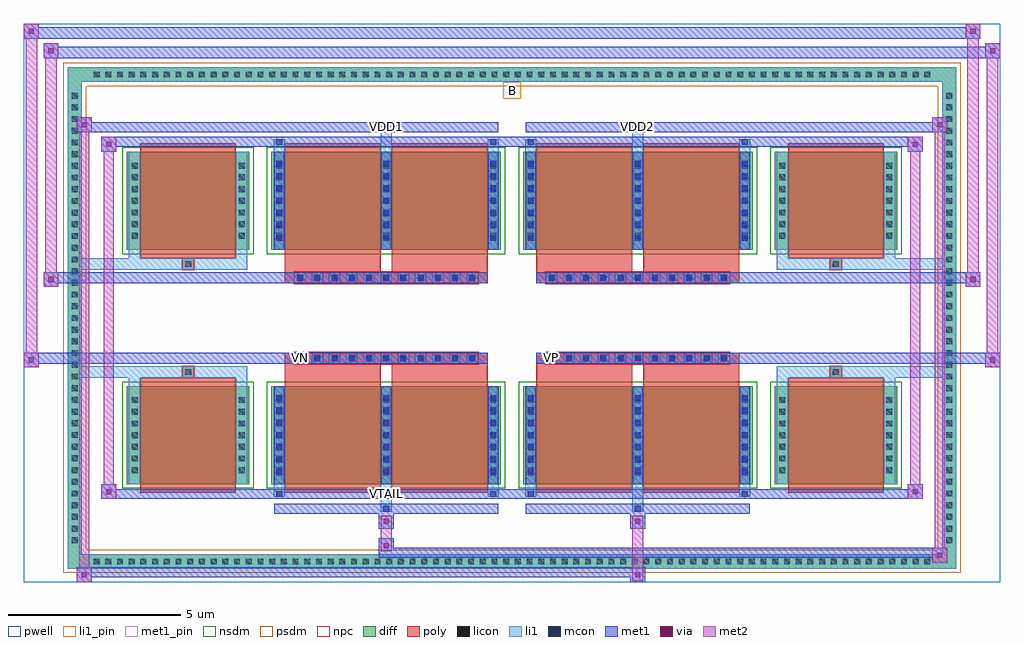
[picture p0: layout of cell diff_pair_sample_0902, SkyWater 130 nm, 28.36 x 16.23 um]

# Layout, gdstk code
import gdstk
lib = gdstk.Library(unit=1e-6, precision=5e-09)
def R(c, l, rs):  # rectangles x0, y0, x1, y1
    for r in rs: c.add(gdstk.rectangle(r[:2], r[2:], *l))
def A(c, l, x, y, w, h, nx, ny, dx, dy):  # array of equal rectangles
    R(c, l, [(x+i*dx, y+j*dy, x+i*dx+w, y+j*dy+h) for i in range(nx) for j in range(ny)])
def P(c, l, *ps):  # polygons
    for p in ps: c.add(gdstk.Polygon(p, *l))
pwell = (64, 44)
diff = (65, 20)
poly = (66, 20)
licon = (66, 44)
li1_pin = (67, 16)
li1 = (67, 20)
mcon = (67, 44)
met1_pin = (68, 16)
met1 = (68, 20)
via = (68, 44)
met2 = (69, 20)
nsdm = (93, 44)
psdm = (94, 20)
npc = (95, 20)

diff_pair_sample_0902 = lib.new_cell('diff_pair_sample_0902')
R(diff_pair_sample_0902, pwell, [(-14.18,-7.68,14.18,8.55), (-11.5,-5.87,-0.01,-0.805), (0.01,-5.87,11.5,-0.805), (-11.5,0.805,-0.01,5.87), (0.01,0.805,11.5,5.87)])
A(diff_pair_sample_0902, diff, -12.275, -7.28, 0.41, 0.41, 72, 2, 0.34, 14.15)
A(diff_pair_sample_0902, diff, -12.91, -6.665, 0.41, 0.41, 1, 39, 0, 0.34)
A(diff_pair_sample_0902, diff, 12.5, -6.665, 0.41, 0.41, 1, 39, 0, 0.34)
R(diff_pair_sample_0902, diff, [(-12.275,-7.28,12.275,-6.87), (-12.91,-6.665,-12.5,6.665), (12.5,-6.665,12.91,6.665), (-11.19,-4.825,-7.63,-1.985), (-6.99,-4.825,-0.32,-1.985), (0.32,-4.825,6.99,-1.985), (7.63,-4.825,11.19,-1.985), (-11.19,1.985,-7.63,4.825), (-6.99,1.985,-0.32,4.825), (0.32,1.985,6.99,4.825), (7.63,1.985,11.19,4.825), (-12.275,6.87,12.275,7.28)])
P(diff_pair_sample_0902, diff, [(12.91,7.28),(-12.91,7.28),(-12.91,-6.87),(-12.5,-6.87),(-12.5,6.87),(12.5,6.87),(12.5,-6.87),(-12.5,-6.87),(-12.91,-6.87),(-12.91,-7.28),(12.91,-7.28)])
A(diff_pair_sample_0902, poly, -6.32, -1.335, 0.33, 0.33, 11, 2, 0.5, 2.34)
A(diff_pair_sample_0902, poly, 0.99, -1.335, 0.33, 0.33, 11, 2, 0.5, 2.34)
R(diff_pair_sample_0902, poly, [(-10.8,-5.075,-8.02,-1.735), (-6.6,-5.075,-3.82,-1.735), (-3.49,-5.075,-0.71,-1.735), (0.71,-5.075,3.49,-1.735), (3.82,-5.075,6.6,-1.735), (8.02,-5.075,10.8,-1.735), (-9.575,-1.735,-9.245,-1.405), (-9.575,-1.735,-9.245,-1.405), (-6.6,-1.735,-3.82,-1.335), (-3.49,-1.735,-0.71,-1.335), (0.71,-1.735,3.49,-1.335), (3.82,-1.735,6.6,-1.335), (9.245,-1.735,9.575,-1.405), (9.245,-1.735,9.575,-1.405), (-6.6,-1.335,-0.71,-1.005), (0.71,-1.335,6.6,-1.005), (-6.6,1.005,-0.71,1.335), (0.71,1.005,6.6,1.335), (-6.6,1.335,-3.82,1.735), (-3.49,1.335,-0.71,1.735), (0.71,1.335,3.49,1.735), (3.82,1.335,6.6,1.735), (-9.575,1.405,-9.245,1.735), (-9.575,1.405,-9.245,1.735), (9.245,1.405,9.575,1.735), (9.245,1.405,9.575,1.735), (-10.8,1.735,-8.02,5.075), (-6.6,1.735,-3.82,5.075), (-3.49,1.735,-0.71,5.075), (0.71,1.735,3.49,5.075), (3.82,1.735,6.6,5.075), (8.02,1.735,10.8,5.075)])
A(diff_pair_sample_0902, licon, -12.155, -7.16, 0.17, 0.17, 72, 2, 0.34, 14.15)
A(diff_pair_sample_0902, licon, -12.79, -6.545, 0.17, 0.17, 1, 39, 0, 0.34)
A(diff_pair_sample_0902, licon, 12.62, -6.545, 0.17, 0.17, 1, 39, 0, 0.34)
A(diff_pair_sample_0902, licon, -11.05, -4.51, 0.17, 0.17, 1, 7, 0, 0.34)
A(diff_pair_sample_0902, licon, -7.94, -4.51, 0.17, 0.17, 1, 7, 0, 0.34)
A(diff_pair_sample_0902, licon, -6.85, -4.51, 0.17, 0.17, 3, 7, 3.11, 0.34)
A(diff_pair_sample_0902, licon, 0.46, -4.51, 0.17, 0.17, 3, 7, 3.11, 0.34)
A(diff_pair_sample_0902, licon, 7.77, -4.51, 0.17, 0.17, 1, 7, 0, 0.34)
A(diff_pair_sample_0902, licon, 10.88, -4.51, 0.17, 0.17, 1, 7, 0, 0.34)
A(diff_pair_sample_0902, licon, -6.24, -1.255, 0.17, 0.17, 11, 2, 0.5, 2.34)
A(diff_pair_sample_0902, licon, 1.07, -1.255, 0.17, 0.17, 11, 2, 0.5, 2.34)
A(diff_pair_sample_0902, licon, -11.05, 2.3, 0.17, 0.17, 1, 7, 0, 0.34)
A(diff_pair_sample_0902, licon, -7.94, 2.3, 0.17, 0.17, 1, 7, 0, 0.34)
A(diff_pair_sample_0902, licon, -6.85, 2.3, 0.17, 0.17, 3, 7, 3.11, 0.34)
A(diff_pair_sample_0902, licon, 0.46, 2.3, 0.17, 0.17, 3, 7, 3.11, 0.34)
A(diff_pair_sample_0902, licon, 7.77, 2.3, 0.17, 0.17, 1, 7, 0, 0.34)
A(diff_pair_sample_0902, licon, 10.88, 2.3, 0.17, 0.17, 1, 7, 0, 0.34)
R(diff_pair_sample_0902, licon, [(-9.495,-1.655,-9.325,-1.485), (9.325,-1.655,9.495,-1.485), (-9.495,1.485,-9.325,1.655), (9.325,1.485,9.495,1.655)])
R(diff_pair_sample_0902, li1_pin, [(-0.25,6.37,0.25,6.87)])
A(diff_pair_sample_0902, li1, -12.235, -7.24, 0.33, 0.33, 72, 2, 0.34, 14.15)
A(diff_pair_sample_0902, li1, -12.87, -6.625, 0.33, 0.33, 1, 39, 0, 0.34)
A(diff_pair_sample_0902, li1, 12.54, -6.625, 0.33, 0.33, 1, 39, 0, 0.34)
A(diff_pair_sample_0902, li1, -6.93, -4.825, 0.33, 2.84, 3, 2, 3.11, 6.81)
A(diff_pair_sample_0902, li1, 0.38, -4.825, 0.33, 2.84, 3, 2, 3.11, 6.81)
A(diff_pair_sample_0902, li1, -11.13, -4.59, 0.33, 0.33, 1, 7, 0, 0.34)
A(diff_pair_sample_0902, li1, -8.02, -4.59, 0.33, 0.33, 1, 7, 0, 0.34)
A(diff_pair_sample_0902, li1, -6.93, -4.59, 0.33, 0.33, 3, 7, 3.11, 0.34)
A(diff_pair_sample_0902, li1, 0.38, -4.59, 0.33, 0.33, 3, 7, 3.11, 0.34)
A(diff_pair_sample_0902, li1, 7.69, -4.59, 0.33, 0.33, 1, 7, 0, 0.34)
A(diff_pair_sample_0902, li1, 10.8, -4.59, 0.33, 0.33, 1, 7, 0, 0.34)
A(diff_pair_sample_0902, li1, -6.85, -4.57, 0.17, 0.17, 3, 7, 3.11, 0.36)
A(diff_pair_sample_0902, li1, -6.85, -4.57, 0.17, 2.33, 3, 2, 3.11, 6.81)
A(diff_pair_sample_0902, li1, 0.46, -4.57, 0.17, 0.17, 3, 7, 3.11, 0.36)
A(diff_pair_sample_0902, li1, 0.46, -4.57, 0.17, 2.33, 3, 2, 3.11, 6.81)
A(diff_pair_sample_0902, li1, -6.32, -1.335, 0.33, 0.33, 11, 2, 0.5, 2.34)
A(diff_pair_sample_0902, li1, 0.99, -1.335, 0.33, 0.33, 11, 2, 0.5, 2.34)
A(diff_pair_sample_0902, li1, -11.13, 2.22, 0.33, 0.33, 1, 7, 0, 0.34)
A(diff_pair_sample_0902, li1, -8.02, 2.22, 0.33, 0.33, 1, 7, 0, 0.34)
A(diff_pair_sample_0902, li1, -6.93, 2.22, 0.33, 0.33, 3, 7, 3.11, 0.34)
A(diff_pair_sample_0902, li1, 0.38, 2.22, 0.33, 0.33, 3, 7, 3.11, 0.34)
A(diff_pair_sample_0902, li1, 7.69, 2.22, 0.33, 0.33, 1, 7, 0, 0.34)
A(diff_pair_sample_0902, li1, 10.8, 2.22, 0.33, 0.33, 1, 7, 0, 0.34)
A(diff_pair_sample_0902, li1, -6.85, 2.24, 0.17, 0.17, 3, 7, 3.11, 0.36)
A(diff_pair_sample_0902, li1, 0.46, 2.24, 0.17, 0.17, 3, 7, 3.11, 0.36)
R(diff_pair_sample_0902, li1, [(-12.91,-7.28,-12.5,-6.87), (-12.91,-7.28,-12.5,-6.87), (-12.5,-7.28,12.5,-6.87), (12.5,-7.28,12.91,-6.87), (12.5,-7.28,12.91,-6.87), (-12.91,-6.87,-12.5,6.87), (12.5,-6.87,12.91,6.87), (-3.82,-5.63,-3.49,-4.825), (-3.74,-5.63,-3.57,-5.46), (3.49,-5.63,3.82,-4.825), (3.57,-5.63,3.74,-5.46), (-6.93,-5.2,-6.6,-4.825), (-6.85,-5.2,-6.68,-5.03), (-0.71,-5.2,-0.38,-4.825), (-0.63,-5.2,-0.46,-5.03), (0.38,-5.2,0.71,-4.825), (0.46,-5.2,0.63,-5.03), (6.6,-5.2,6.93,-4.825), (6.68,-5.2,6.85,-5.03), (-11.13,-4.825,-10.8,-1.985), (-8.02,-4.825,-7.69,-1.985), (7.69,-4.825,8.02,-1.985), (10.8,-4.825,11.13,-1.985), (-11.13,-1.985,-10.8,-1.405), (-8.02,-1.985,-7.69,-1.405), (7.69,-1.985,8.02,-1.405), (10.8,-1.985,11.13,-1.405), (-12.91,-1.735,-9.575,-1.405), (-11.13,-1.735,-9.575,-1.405), (-9.575,-1.735,-9.245,-1.405), (-9.245,-1.735,-7.69,-1.405), (7.69,-1.735,9.245,-1.405), (9.245,-1.735,9.575,-1.405), (9.245,-1.735,12.91,-1.405), (9.575,-1.735,11.13,-1.405), (-12.91,1.405,-9.575,1.735), (-11.13,1.405,-9.575,1.735), (-11.13,1.405,-10.8,1.985), (-9.575,1.405,-9.245,1.735), (-9.245,1.405,-7.69,1.735), (-8.02,1.405,-7.69,1.985), (7.69,1.405,9.245,1.735), (7.69,1.405,8.02,1.985), (9.245,1.405,9.575,1.735), (9.245,1.405,12.91,1.735), (9.575,1.405,11.13,1.735), (10.8,1.405,11.13,1.985), (-11.13,1.985,-10.8,4.825), (-8.02,1.985,-7.69,4.825), (7.69,1.985,8.02,4.825), (10.8,1.985,11.13,4.825), (-6.93,4.825,-6.6,5.2), (-3.82,4.825,-3.49,5.63), (-0.71,4.825,-0.38,5.2), (0.38,4.825,0.71,5.2), (3.49,4.825,3.82,5.63), (6.6,4.825,6.93,5.2), (-6.85,5.03,-6.68,5.2), (-0.63,5.03,-0.46,5.2), (0.46,5.03,0.63,5.2), (6.68,5.03,6.85,5.2), (-3.74,5.46,-3.57,5.63), (3.57,5.46,3.74,5.63), (-12.91,6.87,-12.5,7.28), (-12.91,6.87,-12.5,7.28), (-12.5,6.87,12.5,7.28), (12.5,6.87,12.91,7.28), (12.5,6.87,12.91,7.28)])
A(diff_pair_sample_0902, mcon, -6.85, -4.57, 0.17, 0.17, 3, 7, 3.11, 0.36)
A(diff_pair_sample_0902, mcon, 0.46, -4.57, 0.17, 0.17, 3, 7, 3.11, 0.36)
A(diff_pair_sample_0902, mcon, -6.24, -1.255, 0.17, 0.17, 11, 2, 0.5, 2.34)
A(diff_pair_sample_0902, mcon, 1.07, -1.255, 0.17, 0.17, 11, 2, 0.5, 2.34)
A(diff_pair_sample_0902, mcon, -6.85, 2.24, 0.17, 0.17, 3, 7, 3.11, 0.36)
A(diff_pair_sample_0902, mcon, 0.46, 2.24, 0.17, 0.17, 3, 7, 3.11, 0.36)
R(diff_pair_sample_0902, mcon, [(-3.74,-5.63,-3.57,-5.46), (3.57,-5.63,3.74,-5.46), (-6.85,-5.2,-6.68,-5.03), (-0.63,-5.2,-0.46,-5.03), (0.46,-5.2,0.63,-5.03), (6.68,-5.2,6.85,-5.03), (-6.85,5.03,-6.68,5.2), (-0.63,5.03,-0.46,5.2), (0.46,5.03,0.63,5.2), (6.68,5.03,6.85,5.2), (-3.74,5.46,-3.57,5.63), (3.57,5.46,3.74,5.63)])
R(diff_pair_sample_0902, met1_pin, [(-3.79,-5.24,-3.52,-4.97), (-6.29,-1.295,-6.02,-1.025), (1.02,-1.295,1.29,-1.025), (-3.79,5.42,-3.52,5.69), (3.52,5.42,3.79,5.69)])
A(diff_pair_sample_0902, met1, -6.91, -4.825, 0.29, 2.84, 3, 2, 3.11, 6.81)
A(diff_pair_sample_0902, met1, 0.4, -4.825, 0.29, 2.84, 3, 2, 3.11, 6.81)
A(diff_pair_sample_0902, met1, -6.91, -4.63, 0.29, 0.29, 3, 7, 3.11, 0.36)
A(diff_pair_sample_0902, met1, 0.4, -4.63, 0.29, 0.29, 3, 7, 3.11, 0.36)
A(diff_pair_sample_0902, met1, -6.3, -1.315, 0.29, 0.29, 11, 2, 0.5, 2.34)
A(diff_pair_sample_0902, met1, 1.01, -1.315, 0.29, 0.29, 11, 2, 0.5, 2.34)
A(diff_pair_sample_0902, met1, -6.91, 2.18, 0.29, 0.29, 3, 7, 3.11, 0.36)
A(diff_pair_sample_0902, met1, 0.4, 2.18, 0.29, 0.29, 3, 7, 3.11, 0.36)
R(diff_pair_sample_0902, met1, [(-12.64,-7.68,-12.21,-7.25), (3.44,-7.68,3.87,-7.25), (-12.64,-7.54,3.87,-7.25), (12.21,-7.11,12.64,-6.68), (-3.87,-6.97,12.64,-6.68), (-3.87,-6.83,-3.44,-6.4), (-3.87,-6.12,-3.44,-5.69), (3.44,-6.12,3.87,-5.69), (-6.91,-5.69,-0.4,-5.4), (-3.8,-5.69,-3.51,-5.4), (0.4,-5.69,6.91,-5.4), (3.51,-5.69,3.8,-5.4), (-11.93,-5.26,-11.5,-4.83), (-11.93,-5.26,-6.91,-4.97), (-6.91,-5.26,-6.62,-4.97), (-6.91,-5.26,-0.4,-4.97), (-0.69,-5.26,-0.4,-4.97), (-0.4,-5.26,0.4,-4.97), (0.4,-5.26,0.69,-4.97), (0.4,-5.26,6.91,-4.97), (6.62,-5.26,6.91,-4.97), (6.91,-5.26,11.93,-4.97), (11.5,-5.26,11.93,-4.83), (-14.18,-1.435,-13.75,-1.005), (13.75,-1.435,14.18,-1.005), (-14.18,-1.335,-0.71,-1.005), (-6.6,-1.335,-0.71,-1.005), (0.71,-1.335,6.6,-1.005), (0.71,-1.335,14.18,-1.005), (-13.61,0.905,-13.18,1.335), (13.18,0.905,13.61,1.335), (-13.61,1.005,-6.6,1.335), (-6.6,1.005,-0.71,1.335), (0.71,1.005,6.6,1.335), (6.6,1.005,13.61,1.335), (-11.93,4.83,-11.5,5.26), (11.5,4.83,11.93,5.26), (-11.93,4.97,-6.91,5.26), (-6.91,4.97,-6.62,5.26), (-6.91,4.97,-0.4,5.26), (-0.69,4.97,-0.4,5.26), (-0.4,4.97,0.4,5.26), (0.4,4.97,0.69,5.26), (0.4,4.97,6.91,5.26), (6.62,4.97,6.91,5.26), (6.91,4.97,11.93,5.26), (-12.64,5.4,-12.21,5.83), (-12.64,5.4,-6.91,5.69), (-6.91,5.4,-0.4,5.69), (-3.8,5.4,-3.51,5.69), (0.4,5.4,6.91,5.69), (3.51,5.4,3.8,5.69), (6.91,5.4,12.64,5.69), (12.21,5.4,12.64,5.83), (-13.61,7.55,-13.18,7.98), (-13.61,7.55,-11.5,7.88), (-11.5,7.55,11.5,7.88), (11.5,7.55,14.18,7.88), (13.75,7.55,14.18,7.98), (-14.18,8.12,-13.75,8.55), (-14.18,8.12,-11.5,8.45), (-11.5,8.12,11.5,8.45), (11.5,8.12,13.61,8.45), (13.18,8.12,13.61,8.55)])
R(diff_pair_sample_0902, via, [(-12.5,-7.54,-12.35,-7.39), (3.58,-7.54,3.73,-7.39), (12.35,-6.97,12.5,-6.82), (-3.73,-6.69,-3.58,-6.54), (-3.73,-5.98,-3.58,-5.83), (3.58,-5.98,3.73,-5.83), (-11.79,-5.12,-11.64,-4.97), (11.64,-5.12,11.79,-4.97), (-14.04,-1.295,-13.89,-1.145), (13.89,-1.295,14.04,-1.145), (-13.47,1.045,-13.32,1.195), (13.32,1.045,13.47,1.195), (-11.79,4.97,-11.64,5.12), (11.64,4.97,11.79,5.12), (-12.5,5.54,-12.35,5.69), (12.35,5.54,12.5,5.69), (-13.47,7.69,-13.32,7.84), (13.89,7.69,14.04,7.84), (-14.04,8.26,-13.89,8.41), (13.32,8.26,13.47,8.41)])
R(diff_pair_sample_0902, met2, [(-12.64,-7.68,-12.21,-7.25), (-12.57,-7.68,-12.28,5.83), (-12.28,-7.68,-12.21,-7.25), (-12.59,-7.63,-12.26,-7.3), (3.49,-7.63,3.82,-7.3), (3.49,-7.3,3.82,-6.07), (12.21,-7.11,12.64,-6.68), (12.28,-7.11,12.57,5.83), (12.57,-7.11,12.64,-6.68), (12.26,-7.06,12.59,-6.73), (-3.82,-6.78,-3.49,-6.45), (-3.82,-6.45,-3.49,-6.07), (-3.82,-6.07,-3.49,-5.74), (3.49,-6.07,3.82,-5.74), (-11.93,-5.26,-11.5,-4.83), (-11.86,-5.26,-11.57,5.26), (-11.57,-5.26,-11.5,-4.83), (11.5,-5.26,11.93,-4.83), (11.57,-5.26,11.86,5.26), (11.86,-5.26,11.93,-4.83), (-11.88,-5.21,-11.55,-4.88), (11.55,-5.21,11.88,-4.88), (-14.18,-1.435,-13.75,-1.005), (-14.13,-1.435,-13.8,8.55), (-13.8,-1.435,-13.75,-1.005), (13.75,-1.435,14.18,-1.005), (13.8,-1.435,14.13,7.98), (14.13,-1.435,14.18,-1.005), (-14.13,-1.385,-13.8,-1.055), (13.8,-1.385,14.13,-1.055), (-13.61,0.905,-13.18,1.335), (-13.56,0.905,-13.23,7.98), (-13.23,0.905,-13.18,1.335), (13.18,0.905,13.61,1.335), (13.23,0.905,13.56,8.55), (13.56,0.905,13.61,1.335), (-13.56,0.955,-13.23,1.285), (13.23,0.955,13.56,1.285), (-11.93,4.83,-11.5,5.26), (-11.57,4.83,-11.5,5.26), (11.5,4.83,11.93,5.26), (11.86,4.83,11.93,5.26), (-11.88,4.88,-11.55,5.21), (11.55,4.88,11.88,5.21), (-12.64,5.4,-12.21,5.83), (-12.28,5.4,-12.21,5.83), (12.21,5.4,12.64,5.83), (12.57,5.4,12.64,5.83), (-12.59,5.45,-12.26,5.78), (12.26,5.45,12.59,5.78), (-13.61,7.55,-13.18,7.98), (-13.23,7.55,-13.18,7.98), (13.75,7.55,14.18,7.98), (14.13,7.55,14.18,7.98), (-13.56,7.6,-13.23,7.93), (13.8,7.6,14.13,7.93), (-14.18,8.12,-13.75,8.55), (-13.8,8.12,-13.75,8.55), (13.18,8.12,13.61,8.55), (13.56,8.12,13.61,8.55), (-14.13,8.17,-13.8,8.5), (13.23,8.17,13.56,8.5)])
R(diff_pair_sample_0902, nsdm, [(-11.32,-4.955,-7.5,-1.855), (-7.12,-4.955,-0.19,-1.855), (0.19,-4.955,7.12,-1.855), (7.5,-4.955,11.32,-1.855), (-11.32,1.855,-7.5,4.955), (-7.12,1.855,-0.19,4.955), (0.19,1.855,7.12,4.955), (7.5,1.855,11.32,4.955)])
P(diff_pair_sample_0902, psdm, [(13.04,7.41),(-13.04,7.41),(-13.04,-6.74),(-12.37,-6.74),(-12.37,6.74),(12.37,6.74),(12.37,-6.74),(-12.37,-6.74),(-13.04,-6.74),(-13.04,-7.41),(13.04,-7.41)])
A(diff_pair_sample_0902, npc, -6.34, -1.355, 0.37, 0.37, 11, 2, 0.5, 2.34)
A(diff_pair_sample_0902, npc, 0.97, -1.355, 0.37, 0.37, 11, 2, 0.5, 2.34)
R(diff_pair_sample_0902, npc, [(-9.595,-1.755,-9.225,-1.385), (9.225,-1.755,9.595,-1.385), (-6.34,-1.355,-5.47,-0.985), (-6.34,-1.355,-5.47,-0.985), (-5.84,-1.355,-4.97,-0.985), (-5.84,-1.355,-4.97,-0.985), (-5.34,-1.355,-4.47,-0.985), (-5.34,-1.355,-4.47,-0.985), (-4.84,-1.355,-3.97,-0.985), (-4.84,-1.355,-3.97,-0.985), (-4.34,-1.355,-3.47,-0.985), (-4.34,-1.355,-3.47,-0.985), (-3.84,-1.355,-2.97,-0.985), (-3.84,-1.355,-2.97,-0.985), (-3.34,-1.355,-2.47,-0.985), (-3.34,-1.355,-2.47,-0.985), (-2.84,-1.355,-1.97,-0.985), (-2.84,-1.355,-1.97,-0.985), (-2.34,-1.355,-1.47,-0.985), (-2.34,-1.355,-1.47,-0.985), (-1.84,-1.355,-0.97,-0.985), (-1.84,-1.355,-0.97,-0.985), (0.97,-1.355,1.84,-0.985), (0.97,-1.355,1.84,-0.985), (1.47,-1.355,2.34,-0.985), (1.47,-1.355,2.34,-0.985), (1.97,-1.355,2.84,-0.985), (1.97,-1.355,2.84,-0.985), (2.47,-1.355,3.34,-0.985), (2.47,-1.355,3.34,-0.985), (2.97,-1.355,3.84,-0.985), (2.97,-1.355,3.84,-0.985), (3.47,-1.355,4.34,-0.985), (3.47,-1.355,4.34,-0.985), (3.97,-1.355,4.84,-0.985), (3.97,-1.355,4.84,-0.985), (4.47,-1.355,5.34,-0.985), (4.47,-1.355,5.34,-0.985), (4.97,-1.355,5.84,-0.985), (4.97,-1.355,5.84,-0.985), (5.47,-1.355,6.34,-0.985), (5.47,-1.355,6.34,-0.985), (-6.34,0.985,-5.47,1.355), (-6.34,0.985,-5.47,1.355), (-5.84,0.985,-4.97,1.355), (-5.84,0.985,-4.97,1.355), (-5.34,0.985,-4.47,1.355), (-5.34,0.985,-4.47,1.355), (-4.84,0.985,-3.97,1.355), (-4.84,0.985,-3.97,1.355), (-4.34,0.985,-3.47,1.355), (-4.34,0.985,-3.47,1.355), (-3.84,0.985,-2.97,1.355), (-3.84,0.985,-2.97,1.355), (-3.34,0.985,-2.47,1.355), (-3.34,0.985,-2.47,1.355), (-2.84,0.985,-1.97,1.355), (-2.84,0.985,-1.97,1.355), (-2.34,0.985,-1.47,1.355), (-2.34,0.985,-1.47,1.355), (-1.84,0.985,-0.97,1.355), (-1.84,0.985,-0.97,1.355), (0.97,0.985,1.84,1.355), (0.97,0.985,1.84,1.355), (1.47,0.985,2.34,1.355), (1.47,0.985,2.34,1.355), (1.97,0.985,2.84,1.355), (1.97,0.985,2.84,1.355), (2.47,0.985,3.34,1.355), (2.47,0.985,3.34,1.355), (2.97,0.985,3.84,1.355), (2.97,0.985,3.84,1.355), (3.47,0.985,4.34,1.355), (3.47,0.985,4.34,1.355), (3.97,0.985,4.84,1.355), (3.97,0.985,4.84,1.355), (4.47,0.985,5.34,1.355), (4.47,0.985,5.34,1.355), (4.97,0.985,5.84,1.355), (4.97,0.985,5.84,1.355), (5.47,0.985,6.34,1.355), (5.47,0.985,6.34,1.355), (-9.595,1.385,-9.225,1.755), (9.225,1.385,9.595,1.755)])
diff_pair_sample_0902.add(gdstk.Label('VTAIL', (-3.655,-5.105), layer=68, texttype=5))
diff_pair_sample_0902.add(gdstk.Label('VN', (-6.155,-1.16), layer=68, texttype=5))
diff_pair_sample_0902.add(gdstk.Label('VP', (1.155,-1.16), layer=68, texttype=5))
diff_pair_sample_0902.add(gdstk.Label('B', (0,6.62), layer=67, texttype=5))
diff_pair_sample_0902.add(gdstk.Label('VDD2', (3.655,5.555), layer=68, texttype=5))
diff_pair_sample_0902.add(gdstk.Label('VDD1', (-3.655,5.555), layer=68, texttype=5))

lib.write_gds('diff_pair_sample_0902.gds')
